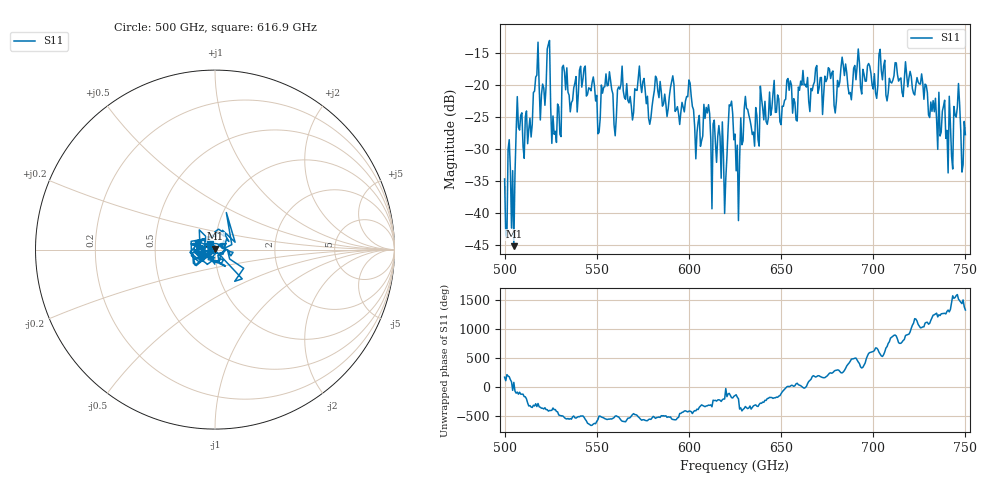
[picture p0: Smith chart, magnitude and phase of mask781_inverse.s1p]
!Created with skrf (http://scikit-rf.org).
# GHz S MA R 50.0
!freq magS11 angS11
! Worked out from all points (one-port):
!   401 points, 500 GHz to 750 GHz, reference 50 ohm
!   lowest |S11| = -45.2 dB at 505 GHz (marker M1), VSWR 1.01, Z = 50.1 + j0.537 ohm
!   |S11| at or under -10 dB: start of sweep to end of sweep
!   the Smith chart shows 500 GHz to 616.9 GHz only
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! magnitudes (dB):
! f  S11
! 500 GHz  -34.7
! 505 GHz  -45.2
! 507.5 GHz  -26.6
! 513.8 GHz  -25.2
! 516.9 GHz  -18.8
! 520.6 GHz  -19.9
! 523.8 GHz  -13.6
! 526.9 GHz  -27.7
! 531.2 GHz  -17.2
! 542.5 GHz  -19.1
! 550.6 GHz  -27.6
! 562.5 GHz  -20.6
! 590.6 GHz  -19.5
! 593.8 GHz  -23.4
! 609.4 GHz  -23.5
! 618.8 GHz  -31.2
! 622.5 GHz  -23.3
! 625 GHz  -27.7
! 626.2 GHz  -29.4
! 631.2 GHz  -23.7
! 636.9 GHz  -24.8
! 656.2 GHz  -24.4
! 676.9 GHz  -19.0
! 680 GHz  -22.5
! 683.8 GHz  -16.9
! 687.5 GHz  -21.2
! 718.8 GHz  -20.3
! 750 GHz  -27.8
